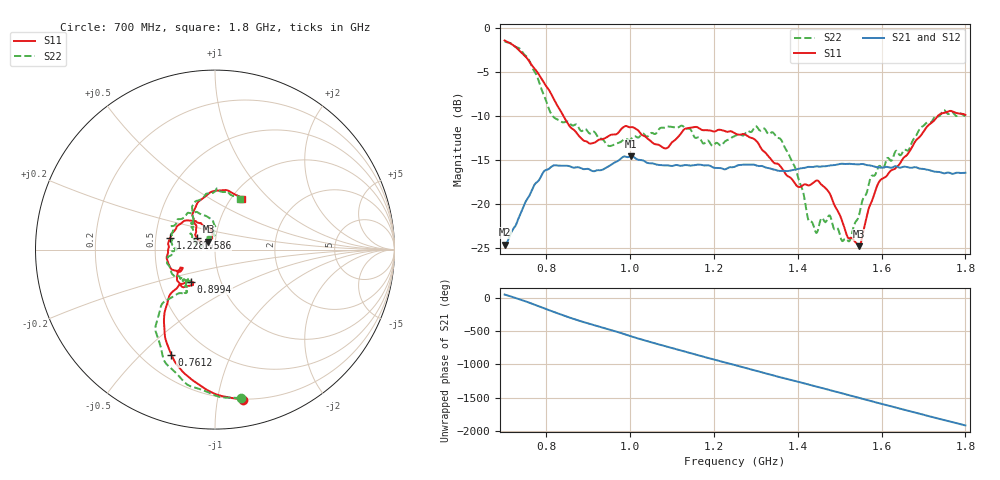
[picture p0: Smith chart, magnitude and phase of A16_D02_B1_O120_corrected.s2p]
! Created with skrf 1.9.0 (http://scikit-rf.org).
# Hz S RI R 50.0
!freq ReS11 ImS11 ReS21 ImS21 ReS12 ImS12 ReS22 ImS22
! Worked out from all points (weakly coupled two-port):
!   1601 points, 700 MHz to 1.8 GHz, reference 50 ohm
!   highest |S21| = -14.61 dB at 1.002 GHz (marker M1); lowest = -24.7 dB at 700 MHz (marker M2)
!   lowest |S11| = -24.8 dB at 1.546 GHz (marker M3), VSWR 1.12, Z = 46.3 + j4.09 ohm
!   |S11| at or under -10 dB: 840.2 MHz to 1.734 GHz (894.2 MHz wide, 69.5 % of centre)
!   |S22| runs from -24.3 to -1.5 dB; largest |S21 - S12| = 0.0034
!   S11 on the Smith chart (normalised r, x): 700 MHz: 0.20, -1.19; 761.2 MHz: 0.32, -0.62; 899.4 MHz: 0.72, -0.27; 1.228 GHz: 0.60, +0.08; 1.586 GHz: 0.81, +0.11; 1.8 GHz: 1.12, +0.71
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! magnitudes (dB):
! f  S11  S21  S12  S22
! 700 MHz  -1.4  -24.7  -24.4  -1.5
! 761.2 MHz  -4.0  -18.9  -18.8  -3.9
! 814.1 MHz  -7.8  -15.7  -15.8  -10.0
! 883.6 MHz  -12.6  -16.0  -15.9  -11.7
! 899.4 MHz  -13.0  -16.0  -16.1  -11.9
! 950.2 MHz  -12.2  -15.7  -15.7  -13.4
! 1.002 GHz  -11.3  -14.6  -14.7  -12.6
! 1.067 GHz  -13.3  -15.6  -15.5  -11.6
! 1.138 GHz  -11.4  -15.6  -15.6  -11.5
! 1.228 GHz  -11.8  -16.1  -16.0  -12.8
! 1.25 GHz  -12.0  -15.8  -15.7  -12.3
! 1.3 GHz  -12.8  -15.6  -15.6  -11.2
! 1.359 GHz  -15.8  -16.3  -16.2  -12.6
! 1.394 GHz  -17.8  -16.1  -16.1  -16.0
! 1.434 GHz  -17.7  -15.8  -15.8  -22.1
! 1.473 GHz  -18.6  -15.7  -15.7  -21.5
! 1.521 GHz  -23.9  -15.5  -15.5  -24.3
! 1.546 GHz  -24.8  -15.5  -15.5  -21.3
! 1.586 GHz  -18.4  -15.8  -15.8  -16.6
! 1.617 GHz  -16.5  -15.9  -15.8  -14.8
! 1.737 GHz  -9.9  -16.4  -16.4  -10.0
! 1.8 GHz  -9.9  -16.5  -16.5  -10.0
